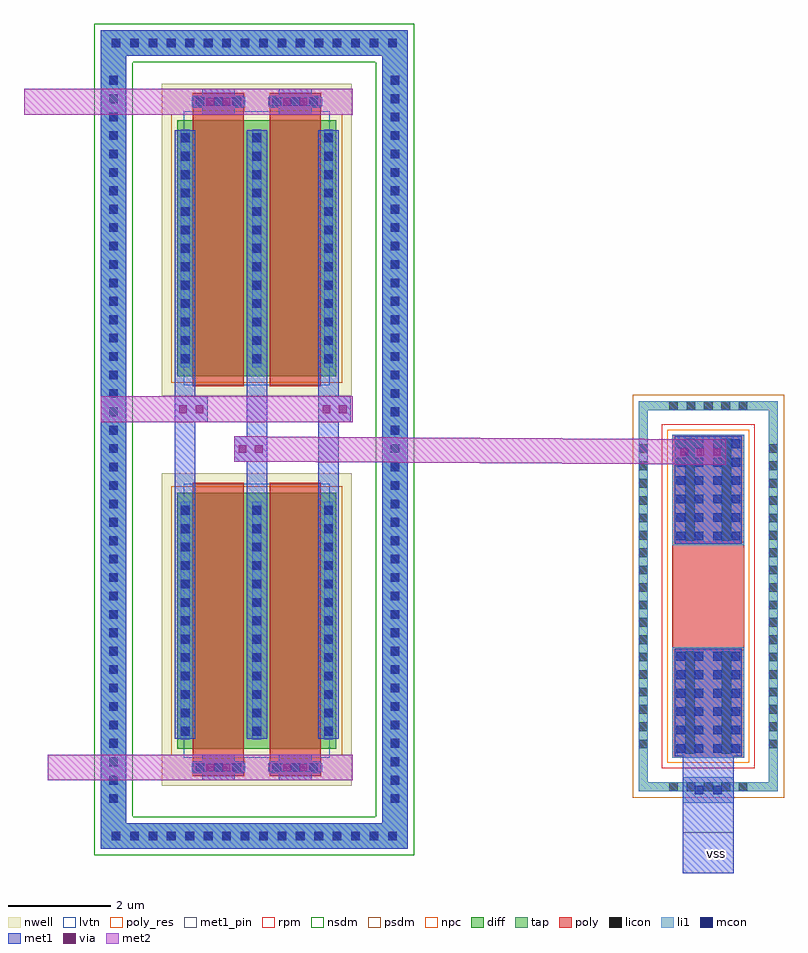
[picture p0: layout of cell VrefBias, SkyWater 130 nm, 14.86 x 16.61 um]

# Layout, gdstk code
from math import pi, radians
import gdstk
lib = gdstk.Library(unit=1e-6, precision=5e-09)
def R(c, l, rs):  # rectangles x0, y0, x1, y1
    for r in rs: c.add(gdstk.rectangle(r[:2], r[2:], *l))
def A(c, l, x, y, w, h, nx, ny, dx, dy):  # array of equal rectangles
    R(c, l, [(x+i*dx, y+j*dy, x+i*dx+w, y+j*dy+h) for i in range(nx) for j in range(ny)])
def P(c, l, *ps):  # polygons
    for p in ps: c.add(gdstk.Polygon(p, *l))
nwell = (64, 20)
diff = (65, 20)
tap = (65, 44)
poly_res = (66, 13)
poly = (66, 20)
licon = (66, 44)
li1 = (67, 20)
mcon = (67, 44)
met1_pin = (68, 16)
met1 = (68, 20)
via = (68, 44)
met2 = (69, 20)
rpm = (86, 20)
nsdm = (93, 44)
psdm = (94, 20)
npc = (95, 20)
lvtn = (125, 44)

vias_gen = lib.new_cell('vias_gen')
R(vias_gen, met1, [(0,0,0.64,0.5)])
R(vias_gen, via, [(0.085,0.175,0.235,0.325), (0.405,0.175,0.555,0.325)])
R(vias_gen, met2, [(0,0,0.64,0.5)])

pfet = lib.new_cell('pfet')
R(pfet, nwell, [(-0.305,-0.38,3.405,5.72)])
R(pfet, diff, [(0,0,3.1,5)])
R(pfet, poly, [(0.3,-0.2,1.3,5.2), (1.8,-0.2,2.8,5.2), (0.3,5.2,1.3,5.53), (1.8,5.2,2.8,5.53)])
A(pfet, licon, 0.065, 0.255, 0.17, 0.17, 3, 13, 1.4, 0.36)
A(pfet, licon, 0.355, 5.28, 0.17, 0.17, 3, 1, 0.36, 0)
A(pfet, licon, 1.855, 5.28, 0.17, 0.17, 3, 1, 0.36, 0)
A(pfet, li1, 0.065, 0.175, 0.17, 4.65, 3, 1, 1.4, 0)
R(pfet, li1, [(0.275,5.28,1.325,5.45), (1.775,5.28,2.825,5.45)])
A(pfet, mcon, 0.065, 0.255, 0.17, 0.17, 3, 13, 1.4, 0.36)
A(pfet, mcon, 0.355, 5.28, 0.17, 0.17, 3, 1, 0.36, 0)
A(pfet, mcon, 1.855, 5.28, 0.17, 0.17, 3, 1, 0.36, 0)
A(pfet, met1, 0.035, 0.195, 0.23, 4.61, 3, 1, 1.4, 0)
R(pfet, met1, [(0.295,5.25,1.305,5.48), (1.795,5.25,2.805,5.48)])
R(pfet, psdm, [(-0.125,-0.125,3.225,5.125)])
R(pfet, npc, [(0.29,5.19,1.31,5.54), (1.79,5.19,2.81,5.54)])
R(pfet, lvtn, [(0.12,-0.18,2.98,5.18)])

vias_gen_3 = lib.new_cell('vias_gen$3')
R(vias_gen_3, li1, [(0,0,1,0.5)])
R(vias_gen_3, mcon, [(0.235,0.165,0.405,0.335), (0.595,0.165,0.765,0.335)])
R(vias_gen_3, met1, [(0,0,1,0.5)])

res_poly = lib.new_cell('res_poly')
R(res_poly, tap, [(-1.355,-3.81,1.355,-3.64), (-1.355,-3.64,-1.185,3.64), (1.185,-3.64,1.355,3.64), (-1.355,3.64,1.355,3.81)])
R(res_poly, poly_res, [(-0.705,-1.06,0.705,1.06)])
R(res_poly, poly, [(-0.705,-3.16,0.705,3.16)])
A(res_poly, licon, -0.765, -3.81, 0.17, 0.17, 5, 2, 0.34, 7.45)
A(res_poly, licon, -1.355, -2.975, 0.17, 0.17, 1, 18, 0, 0.34)
A(res_poly, licon, 1.185, -2.975, 0.17, 0.17, 1, 18, 0, 0.34)
R(res_poly, licon, [(-0.45,-3.08,-0.26,-1.08), (0.26,-3.08,0.45,-1.08), (-0.45,1.08,-0.26,3.08), (0.26,1.08,0.45,3.08)])
R(res_poly, li1, [(-1.355,-3.81,1.355,-3.64), (-1.355,-3.64,-1.185,3.64), (1.185,-3.64,1.355,3.64), (-0.705,-3.16,0.705,-1), (-0.705,1,0.705,3.16), (-1.355,3.64,1.355,3.81)])
A(res_poly, mcon, -0.625, -3.06, 0.17, 0.17, 4, 6, 0.36, 0.36)
A(res_poly, mcon, -0.625, 1.095, 0.17, 0.17, 4, 6, 0.36, 0.36)
R(res_poly, met1, [(-0.655,-3.13,0.655,-1.025), (-0.655,1.025,0.655,3.13)])
R(res_poly, rpm, [(-0.905,-3.36,0.905,3.36)])
R(res_poly, psdm, [(-1.48,-3.935,1.48,3.935)])
R(res_poly, npc, [(-0.8,-3.255,0.8,3.255)])

guard_ring_gen = lib.new_cell('guard_ring_gen')
P(guard_ring_gen, tap, [(-0.5,-0.5),(-0.5,15),(0,15),(0,0),(5,0),(5,15),(-0.5,15),(-0.5,15.5),(5.5,15.5),(5.5,-0.5)])
A(guard_ring_gen, licon, -0.285, -0.335, 0.17, 0.17, 16, 2, 0.36, 15.5)
A(guard_ring_gen, licon, -0.335, 0.395, 0.17, 0.17, 1, 40, 0, 0.36)
A(guard_ring_gen, licon, 5.165, 0.395, 0.17, 0.17, 1, 40, 0, 0.36)
P(guard_ring_gen, li1, [(-0.5,-0.5),(-0.5,15),(0,15),(0,0),(5,0),(5,15),(-0.5,15),(-0.5,15.5),(5.5,15.5),(5.5,-0.5)])
A(guard_ring_gen, mcon, -0.285, -0.335, 0.17, 0.17, 16, 2, 0.36, 15.5)
A(guard_ring_gen, mcon, -0.335, 0.395, 0.17, 0.17, 1, 40, 0, 0.36)
A(guard_ring_gen, mcon, 5.165, 0.395, 0.17, 0.17, 1, 40, 0, 0.36)
P(guard_ring_gen, met1, [(-0.5,-0.5),(-0.5,15),(0,15),(0,0),(5,0),(5,15),(-0.5,15),(-0.5,15.5),(5.5,15.5),(5.5,-0.5)])
P(guard_ring_gen, nsdm, [(-0.625,-0.625),(-0.625,14.875),(0.125,14.875),(0.125,0.125),(4.875,0.125),(4.875,14.875),(-0.625,14.875),(-0.625,15.625),(5.625,15.625),(5.625,-0.625)])

vias_gen_2 = lib.new_cell('vias_gen$2')
R(vias_gen_2, met1, [(0,0,1,0.5)])
A(vias_gen_2, via, 0.105, 0.175, 0.15, 0.15, 3, 1, 0.32, 0)
R(vias_gen_2, met2, [(0,0,1,0.5)])

vrefbias = lib.new_cell('VrefBias')
R(vrefbias, met1_pin, [(20.61,2.385,21.61,3.185)])
vrefbias.add(gdstk.FlexPath([(10.885,16.905),(10.885,5.015)], 0.4, ends="flush", simple_path=True, layer=68, datatype=20))  # met1
vrefbias.add(gdstk.FlexPath([(12.285,16.905),(12.285,5.015)], 0.4, ends="flush", simple_path=True, layer=68, datatype=20))  # met1
vrefbias.add(gdstk.FlexPath([(13.685,16.905),(13.685,5.015)], 0.4, ends="flush", simple_path=True, layer=68, datatype=20))  # met1
vrefbias.add(gdstk.FlexPath([(21.11,6.25),(21.11,2.385)], 1, ends="flush", simple_path=True, layer=68, datatype=20))  # met1
vrefbias.add(gdstk.FlexPath([(14.16,11.455),(10.395,11.455),(9.235,11.455)], 0.5, ends="flush", simple_path=True, layer=69, datatype=20))  # met2
vrefbias.add(gdstk.FlexPath([(21.46,10.62),(11.845,10.68)], 0.5, ends="flush", simple_path=True, layer=69, datatype=20))  # met2
vrefbias.add(gdstk.FlexPath([(14.16,17.465),(10.395,17.465),(7.735,17.465)], 0.5, ends="flush", simple_path=True, layer=69, datatype=20))  # met2
vrefbias.add(gdstk.FlexPath([(14.16,4.455),(10.395,4.455),(8.195,4.455)], 0.5, ends="flush", simple_path=True, layer=69, datatype=20))  # met2
vrefbias.add(gdstk.Reference(vias_gen, (11.215,17.215)))
vrefbias.add(gdstk.Reference(pfet, (10.735,12.1)))
vrefbias.add(gdstk.Reference(vias_gen, (12.715,17.215)))
vrefbias.add(gdstk.Reference(vias_gen, (13.355,4.705), rotation=pi))
vrefbias.add(gdstk.Reference(pfet, (13.835,9.82), rotation=pi))
vrefbias.add(gdstk.Reference(vias_gen, (11.855,4.705), rotation=pi))
vrefbias.add(gdstk.Reference(vias_gen, (11.325,11.705), rotation=pi))
vrefbias.add(gdstk.Reference(vias_gen, (14.125,11.705), rotation=pi))
vrefbias.add(gdstk.Reference(vias_gen_3, (20.61,3.765)))
vrefbias.add(gdstk.Reference(res_poly, (21.11,7.8)))
vrefbias.add(gdstk.Reference(vias_gen, (12.485,10.93), rotation=pi))
vrefbias.add(gdstk.Reference(guard_ring_gen, (9.735,3.365)))
vrefbias.add(gdstk.Reference(vias_gen_2, (20.46,10.37)))
vrefbias.add(gdstk.Label('vss', (21.28,2.77), layer=68, texttype=16))

lib.write_gds('VrefBias.gds')
